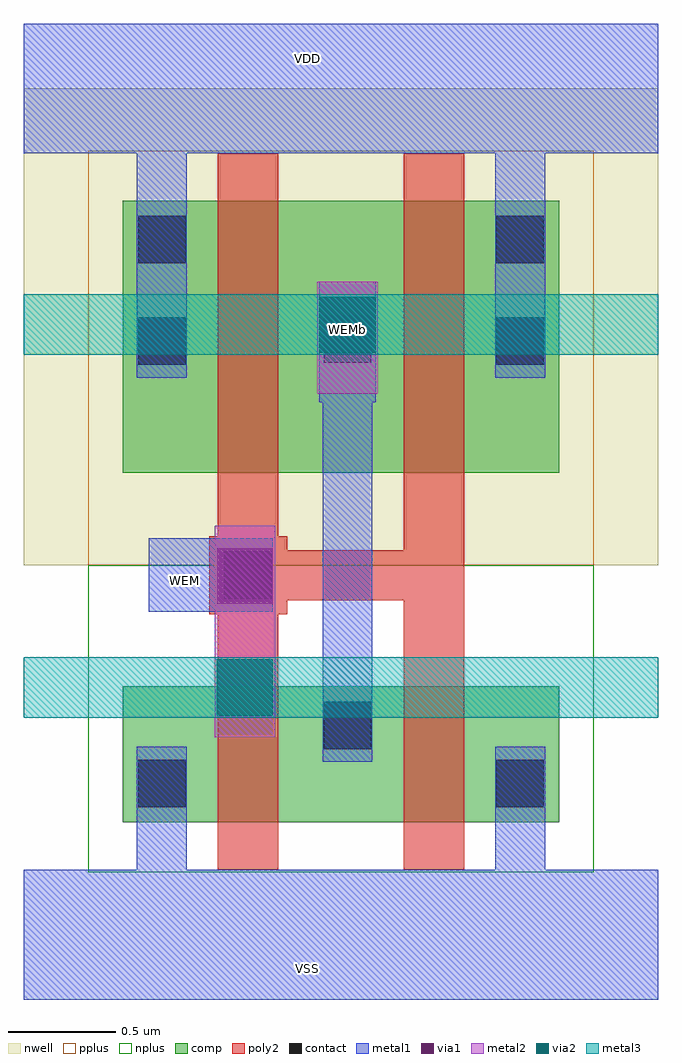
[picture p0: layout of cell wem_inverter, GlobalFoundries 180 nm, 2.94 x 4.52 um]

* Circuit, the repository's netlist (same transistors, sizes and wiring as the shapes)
* Extracted by KLayout with GF180MCU LVS runset on : 26/02/2026 19:35

.SUBCKT wem_inverter VSS WEMb WEM VDD
M$1 WEMb WEM VDD VDD pfet_03v3 L=0.28U W=2.52U AS=0.9198P AD=0.9198P PS=5.24U
+ PD=5.24U
M$3 WEMb WEM VSS VSS nfet_03v3 L=0.28U W=1.26U AS=0.4599P AD=0.4599P PS=3.35U
+ PD=3.35U
.ENDS wem_inverter

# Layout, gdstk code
import gdstk
lib = gdstk.Library(unit=1e-6, precision=5e-09)
def R(c, l, rs):  # rectangles x0, y0, x1, y1
    for r in rs: c.add(gdstk.rectangle(r[:2], r[2:], *l))
nwell = (21, 0)
comp = (22, 0)
poly2 = (30, 0)
pplus = (31, 0)
nplus = (32, 0)
contact = (33, 0)
metal1 = (34, 0)
via1 = (35, 0)
metal2 = (36, 0)
via2 = (38, 0)
metal3 = (42, 0)

wem_inverter = lib.new_cell('wem_inverter')
R(wem_inverter, nwell, [(-6.705,3.335,-3.765,5.545)])
R(wem_inverter, comp, [(-6.245,2.145,-4.225,2.775), (-6.245,3.765,-4.225,5.025)])
R(wem_inverter, poly2, [(-5.805,1.925,-5.525,5.245), (-4.945,1.925,-4.665,5.245), (-5.845,3.11,-5.485,3.47), (-5.485,3.175,-4.945,3.405)])
R(wem_inverter, pplus, [(-6.405,3.335,-4.065,5.255)])
R(wem_inverter, nplus, [(-6.405,1.915,-4.065,3.335)])
R(wem_inverter, contact, [(-6.175,2.215,-5.955,2.435), (-4.515,2.215,-4.295,2.435), (-5.315,2.485,-5.095,2.705), (-5.775,3.18,-5.555,3.4), (-6.175,4.265,-5.955,4.485), (-4.515,4.265,-4.295,4.485), (-5.315,4.275,-5.095,4.495), (-6.175,4.735,-5.955,4.955), (-4.515,4.735,-4.295,4.955)])
R(wem_inverter, metal1, [(-6.705,1.325,-3.765,1.925), (-6.18,1.925,-5.95,2.495), (-4.52,1.925,-4.29,2.495), (-5.32,2.425,-5.09,4.555), (-6.125,3.12,-5.55,3.46), (-5.335,4.09,-5.075,4.65), (-6.18,4.205,-5.95,5.245), (-4.52,4.205,-4.29,5.245), (-6.705,5.245,-3.765,5.845)])
R(wem_inverter, via1, [(-5.81,3.155,-5.55,3.415), (-5.335,4.32,-5.075,4.58)])
R(wem_inverter, metal2, [(-5.82,2.54,-5.54,3.52), (-5.345,4.13,-5.065,4.65)])
R(wem_inverter, via2, [(-5.81,2.64,-5.55,2.9), (-5.335,4.32,-5.075,4.58)])
R(wem_inverter, metal3, [(-6.705,2.63,-3.765,2.91), (-6.705,4.31,-3.765,4.59)])
wem_inverter.add(gdstk.Label('WEM', (-5.96,3.265), layer=34, texttype=10))
wem_inverter.add(gdstk.Label('WEMb', (-5.205,4.43), layer=34, texttype=10))
wem_inverter.add(gdstk.Label('VDD', (-5.39,5.685), layer=34, texttype=10))
wem_inverter.add(gdstk.Label('VSS', (-5.39,1.47), layer=34, texttype=10))

lib.write_gds('wem_inverter.gds')
